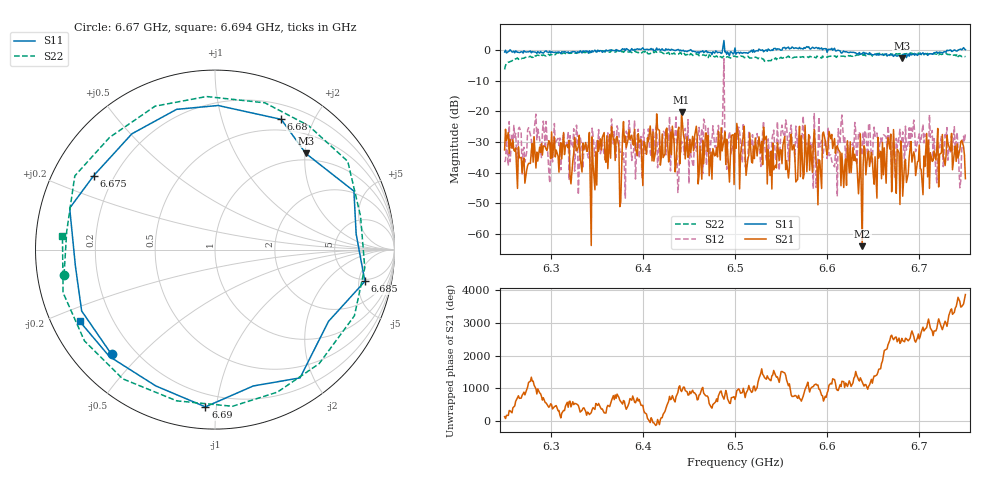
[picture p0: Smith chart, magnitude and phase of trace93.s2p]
# Hz S RI R 50
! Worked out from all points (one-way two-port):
!   401 points, 6.25 GHz to 6.75 GHz, reference 50 ohm
!   highest |S21| = -20.35 dB at 6.442 GHz (marker M1); lowest = -64.0 dB at 6.638 GHz (marker M2)
!   lowest |S11| = -2.7 dB at 6.681 GHz (marker M3), VSWR 6.60, Z = 42.9 + j101 ohm
!   |S11| at or under -10 dB: nowhere
!   |S22| runs from -6.4 to 0.0 dB; largest |S21 - S12| = 0.75
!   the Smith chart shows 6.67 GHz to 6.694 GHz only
!   S11 on the Smith chart (normalised r, x): 6.67 GHz: 0.12, -0.41; 6.675 GHz: 0.13, +0.28; 6.68 GHz: 0.37, +1.57; 6.685 GHz: 4.64, -6.05; 6.69 GHz: 0.12, -0.93; 6.694 GHz: 0.08, -0.25
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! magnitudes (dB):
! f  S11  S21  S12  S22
! 6.25 GHz  -0.7  -32.6  -36.6  -6.4
! 6.285 GHz  -1.1  -33.3  -29.5  -1.7
! 6.334 GHz  -1.0  -39.8  -31.9  -0.4
! 6.346 GHz  -0.7  -37.3  -28.0  -0.5
! 6.355 GHz  -0.3  -32.6  -32.2  -0.4
! 6.374 GHz  -0.3  -31.5  -27.2  -0.3
! 6.38 GHz  0.3  -30.1  -38.4  -0.4
! 6.418 GHz  0.3  -26.3  -28.6  -0.5
! 6.442 GHz  -0.3  -20.3  -29.8  -1.4
! 6.5 GHz  0.6  -27.2  -31.0  -2.0
! 6.584 GHz  0.8  -39.9  -30.1  -2.5
! 6.638 GHz  -1.2  -64.0  -34.4  -1.6
! 6.668 GHz  -1.6  -32.3  -30.8  -1.8
! 6.67 GHz  -1.7  -46.2  -41.6  -1.4
! 6.675 GHz  -2.0  -46.7  -28.8  -1.2
! 6.68 GHz  -1.8  -29.8  -37.7  -1.0
! 6.681 GHz  -2.7  -34.7  -28.9  -1.6
! 6.685 GHz  -1.4  -35.8  -24.9  -1.3
! 6.69 GHz  -1.1  -32.2  -31.9  -1.1
! 6.694 GHz  -1.4  -33.2  -22.9  -1.4
! 6.745 GHz  0.2  -29.9  -42.5  -2.0
! 6.75 GHz  0.1  -42.0  -27.2  -2.2
